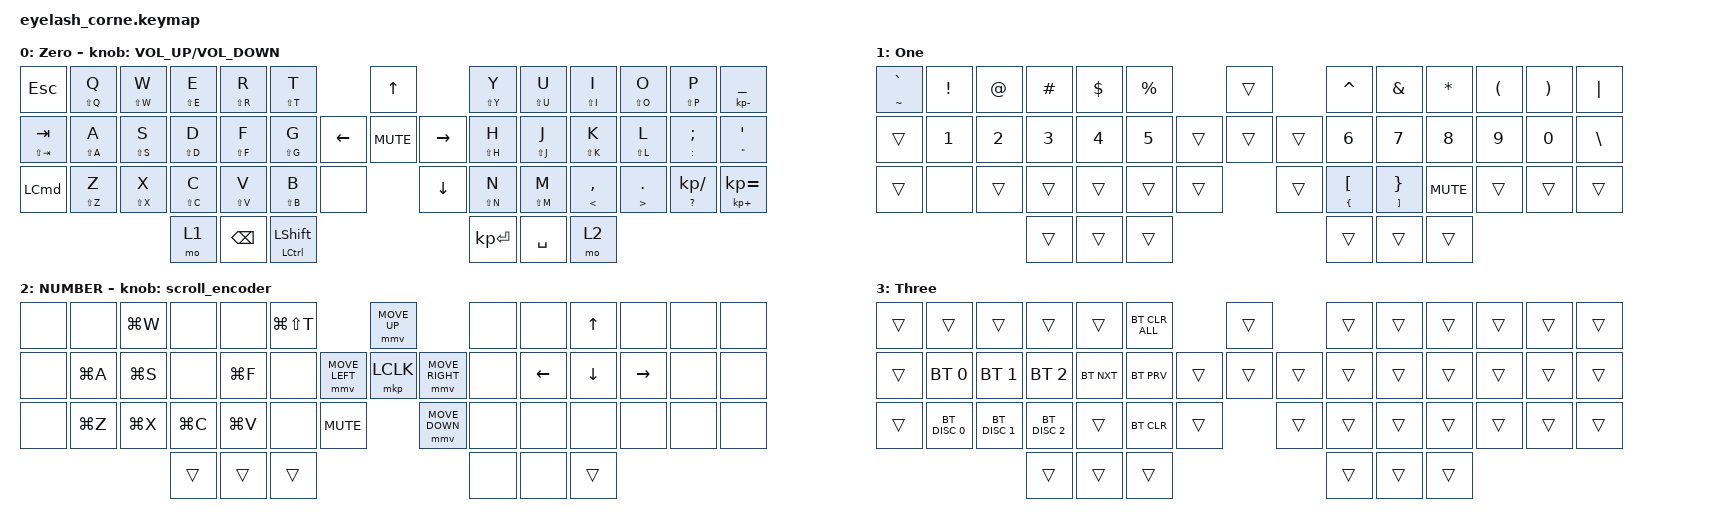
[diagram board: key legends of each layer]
#include <dt-bindings/zmk/mouse.h>
#include <input/processors.dtsi>
#include <behaviors.dtsi>
#include <dt-bindings/zmk/bt.h>
#include <dt-bindings/zmk/keys.h>
#include <dt-bindings/zmk/pointing.h>
#include <dt-bindings/zmk/rgb.h>

/*

   &mmv_input_listener {
       input-processors = <&zip_xy_scaler 2 1>;
   };

   &msc_input_listener {
       input-processors = <&zip_xy_scaler 2 1>;
   };

 */

#define ZMK_MOUSE_DEFAULT_MOVE_VAL 1200  // 600
#define ZMK_MOUSE_DEFAULT_SCRL_VAL 20    // 10

/ {
    behaviors {
        td0: td0 {
            compatible = "zmk,behavior-tap-dance";
            display-name = "Shift/Caps Lock Tap Dance";
            #binding-cells = <0>;
            bindings = <&kp LEFT_SHIFT>, <&kp CAPS>;
        };

        as: auto_shift {
            compatible = "zmk,behavior-hold-tap";
            label = "AUTO_SHIFT";
            #binding-cells = <2>;
            tapping_term_ms = <280>;
            quick_tap_ms = <0>;
            flavor = "tap-preferred";
            bindings = <&kp>, <&kp>;
        };
    };

    rgb_encoder: rgb_encoder {
        compatible = "zmk,behavior-sensor-rotate";
        #sensor-binding-cells = <0>;
        bindings = <&rgb_ug RGB_BRI>, <&rgb_ug RGB_BRD>;
    };

    scroll_encoder: scroll_encoder {
        compatible = "zmk,behavior-sensor-rotate";
        #sensor-binding-cells = <0>;
        bindings = <&msc SCRL_DOWN>, <&msc SCRL_UP>;

        tap-ms = <30>;
    };

    combos {
        compatible = "zmk,combos";

        layer_combo {
            bindings = <&mo 3>;
            key-positions = <42 47>;
        };
    };

    keymap {
        compatible = "zmk,keymap";

        Layer_0 {
            display-name = "Zero";
            bindings = <
&kp ESCAPE        &as LS(Q) Q  &as LS(W) W  &as LS(E) E  &as LS(R) R    &as LS(T) T                                     &kp UP                 &as LS(Y) Y   &as LS(U) U  &as LS(I) I          &as LS(O) O              &as LS(P) P            &as KP_MINUS UNDERSCORE
&as LS(TAB) TAB   &as LS(A) A  &as LS(S) S  &as LS(D) D  &as LS(F) F    &as LS(G) G                           &kp LEFT  &kp C_MUTE  &kp RIGHT  &as LS(H) H   &as LS(J) J  &as LS(K) K          &as LS(L) L              &as COLON SEMICOLON    &as DOUBLE_QUOTES SINGLE_QUOTE
&kp LEFT_COMMAND  &as LS(Z) Z  &as LS(X) X  &as LS(C) C  &as LS(V) V    &as LS(B) B                  &none              &kp DOWN               &as LS(N) N   &as LS(M) M  &as LESS_THAN COMMA  &as GREATER_THAN PERIOD  &as QUESTION KP_SLASH  &as KP_PLUS KP_EQUAL
                                            &mo 1        &kp BACKSPACE  &as LEFT_CONTROL LEFT_SHIFT                                            &kp KP_ENTER  &kp SPACE    &mo 2
            >;

            sensor-bindings = <&inc_dec_kp C_VOLUME_UP C_VOLUME_DOWN>;
        };

        layer_1 {
            bindings = <
&mt TILDE GRAVE  &kp EXCLAMATION  &kp AT_SIGN  &kp HASH  &kp DOLLAR  &kp PERCENT                    &trans          &kp CARET                    &kp AMPERSAND                  &kp ASTERISK  &kp LEFT_PARENTHESIS  &kp RIGHT_PARENTHESIS  &kp PIPE
&trans           &kp N1           &kp N2       &kp N3    &kp N4      &kp N5                 &trans  &trans  &trans  &kp N6                       &kp N7                         &kp N8        &kp N9                &kp N0                 &kp BACKSLASH
&trans           &none            &trans       &trans    &trans      &trans       &trans            &trans          &mt LEFT_BRACE LEFT_BRACKET  &mt RIGHT_BRACKET RIGHT_BRACE  &kp C_MUTE    &trans                &trans                 &trans
                                               &trans    &trans      &trans                                         &trans                       &trans                         &trans
            >;

            label = "One";
        };

        layer_2 {
            display-name = "NUMBER";
            bindings = <
&none  &none      &kp LG(W)  &none      &none      &kp LG(LS(T))                                &mmv MOVE_UP                     &none  &none           &kp UP_ARROW    &none      &none  &none
&none  &kp LG(A)  &kp LG(S)  &none      &kp LG(F)  &none                        &mmv MOVE_LEFT  &mkp LCLK       &mmv MOVE_RIGHT  &none  &kp LEFT_ARROW  &kp DOWN_ARROW  &kp RIGHT  &none  &none
&none  &kp LG(Z)  &kp LG(X)  &kp LG(C)  &kp LG(V)  &none          &kp C_MUTE                    &mmv MOVE_DOWN                   &none  &none           &none           &none      &none  &none
                             &trans     &trans     &trans                                                                        &none  &none           &trans
            >;

            sensor-bindings = <&scroll_encoder>;
            label = "Two";
        };

        layer_3 {
            bindings = <
&trans  &trans         &trans         &trans         &trans      &bt BT_CLR_ALL                    &trans          &trans  &trans  &trans  &trans  &trans  &trans
&trans  &bt BT_SEL 0   &bt BT_SEL 1   &bt BT_SEL 2   &bt BT_NXT  &bt BT_PRV                &trans  &trans  &trans  &trans  &trans  &trans  &trans  &trans  &trans
&trans  &bt BT_DISC 0  &bt BT_DISC 1  &bt BT_DISC 2  &trans      &bt BT_CLR      &trans            &trans          &trans  &trans  &trans  &trans  &trans  &trans
                                      &trans         &trans      &trans                                            &trans  &trans  &trans
            >;

            label = "Three";
        };
    };
};
